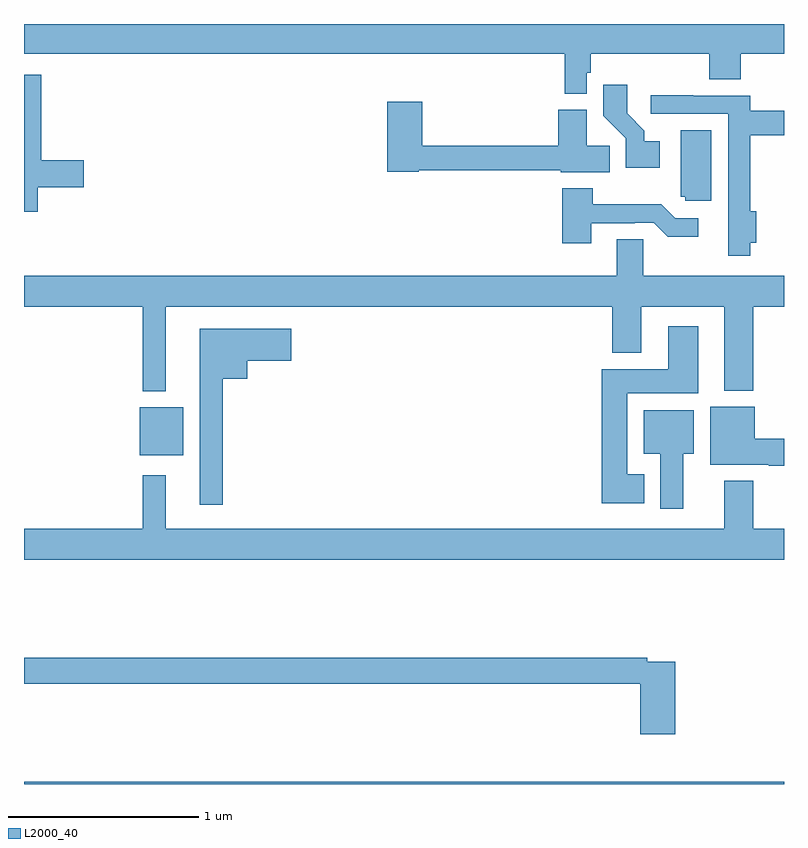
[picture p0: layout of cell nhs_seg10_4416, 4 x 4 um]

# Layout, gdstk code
import gdstk
lib = gdstk.Library(unit=1e-6, precision=1e-09)
def R(c, l, rs):  # rectangles x0, y0, x1, y1
    for r in rs: c.add(gdstk.rectangle(r[:2], r[2:], *l))
def P(c, l, *ps):  # polygons
    for p in ps: c.add(gdstk.Polygon(p, *l))
L2000_40 = (2000, 40)

nhs_seg10_4416 = lib.new_cell('nhs_seg10_4416')
R(nhs_seg10_4416, L2000_40, [(361,1268.5,365,1268.512), (361.61,1270.229,361.837,1270.483)])
P(nhs_seg10_4416, L2000_40, [(363.963,1272.243),(363.983,1272.243),(363.983,1272.344),(364.607,1272.344),(364.607,1272.208),(364.772,1272.208),(364.772,1272.344),(365,1272.344),(365,1272.5),(361,1272.5),(361,1272.344),(363.847,1272.344),(363.847,1272.134),(363.963,1272.134)],
  [(361.072,1271.641),(361.315,1271.641),(361.315,1271.783),(361.091,1271.783),(361.091,1272.234),(361,1272.234),(361,1271.513),(361.072,1271.513)],
  [(364.345,1271.884),(364.264,1271.884),(364.264,1271.939),(364.174,1272.029),(364.174,1272.181),(364.048,1272.181),(364.048,1272.018),(364.167,1271.899),(364.167,1271.744),(364.345,1271.744)],
  [(364.823,1271.348),(364.853,1271.348),(364.853,1271.514),(364.823,1271.514),(364.823,1271.914),(365,1271.914),(365,1272.043),(364.823,1272.043),(364.823,1272.123),(364.523,1272.123),(364.523,1272.126),(364.299,1272.126),(364.299,1272.027),(364.707,1272.027),(364.707,1271.502),(364.706,1271.502),(364.706,1271.28),(364.823,1271.28)],
  [(364.082,1271.858),(363.961,1271.858),(363.961,1272.049),(363.812,1272.049),(363.812,1271.86),(363.095,1271.86),(363.095,1272.091),(362.912,1272.091),(362.912,1271.723),(363.078,1271.723),(363.078,1271.731),(363.824,1271.731),(363.824,1271.72),(364.082,1271.72)],
  [(364.618,1271.941),(364.457,1271.941),(364.457,1271.592),(364.479,1271.592),(364.479,1271.571),(364.618,1271.571)],
  [(363.985,1271.451),(364.214,1271.451),(364.214,1271.454),(364.314,1271.454),(364.387,1271.381),(364.549,1271.381),(364.549,1271.478),(364.428,1271.478),(364.355,1271.551),(363.993,1271.551),(363.993,1271.635),(363.833,1271.635),(363.833,1271.346),(363.985,1271.346)],
  [(361.747,1271.012),(364.097,1271.012),(364.097,1270.769),(364.249,1270.769),(364.249,1271.012),(364.685,1271.012),(364.685,1270.571),(364.838,1270.571),(364.838,1271.012),(365,1271.012),(365,1271.176),(364.26,1271.176),(364.26,1271.366),(364.121,1271.366),(364.121,1271.176),(361,1271.176),(361,1271.012),(361.626,1271.012),(361.626,1270.568),(361.747,1270.568)],
  [(364.264,1270.129),(364.174,1270.129),(364.174,1270.556),(364.549,1270.556),(364.549,1270.909),(364.391,1270.909),(364.391,1270.684),(364.04,1270.684),(364.04,1269.977),(364.264,1269.977)],
  [(362.047,1270.634),(362.176,1270.634),(362.176,1270.727),(362.407,1270.727),(362.407,1270.897),(361.925,1270.897),(361.925,1269.969),(362.047,1269.969)],
  [(365,1270.316),(364.846,1270.316),(364.846,1270.486),(364.613,1270.486),(364.613,1270.181),(364.921,1270.181),(364.921,1270.174),(365,1270.174)],
  [(364.471,1270.238),(364.525,1270.238),(364.525,1270.468),(364.262,1270.468),(364.262,1270.238),(364.349,1270.238),(364.349,1269.948),(364.471,1269.948)],
  [(365,1269.844),(364.838,1269.844),(364.838,1270.096),(364.685,1270.096),(364.685,1269.844),(361.747,1269.844),(361.747,1270.126),(361.626,1270.126),(361.626,1269.844),(361,1269.844),(361,1269.68),(365,1269.68)],
  [(364.427,1269.144),(364.28,1269.144),(364.28,1269.164),(361,1269.164),(361,1269.028),(364.244,1269.028),(364.244,1268.763),(364.427,1268.763)])

lib.write_gds('nhs_seg10_4416.gds')
